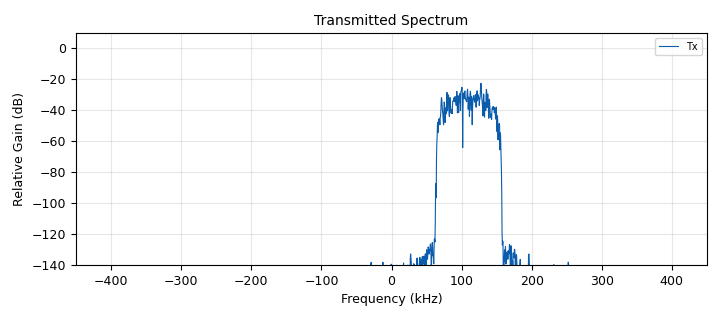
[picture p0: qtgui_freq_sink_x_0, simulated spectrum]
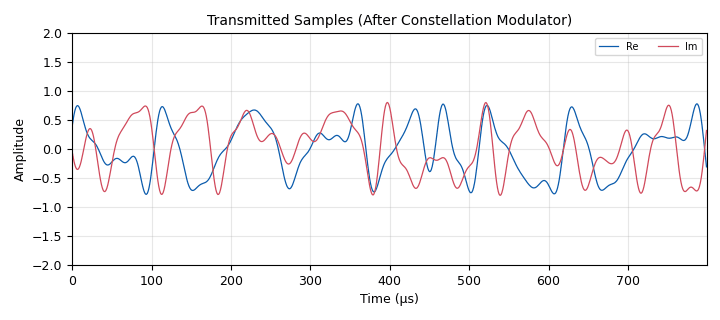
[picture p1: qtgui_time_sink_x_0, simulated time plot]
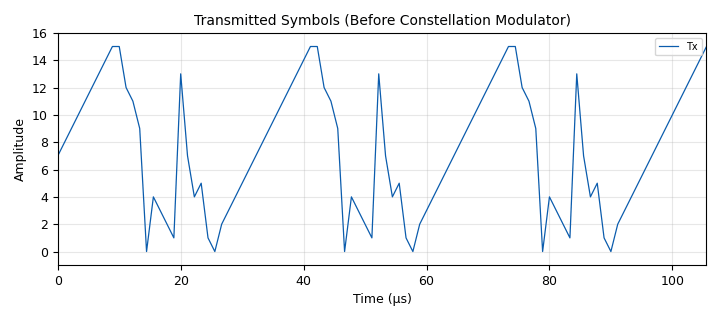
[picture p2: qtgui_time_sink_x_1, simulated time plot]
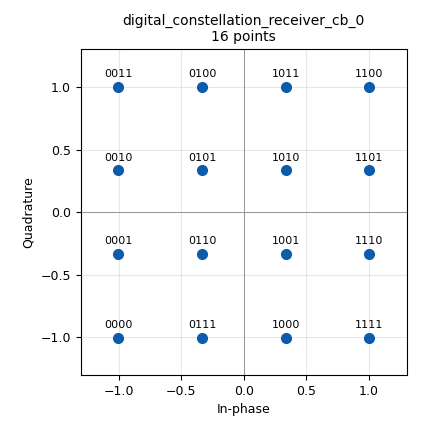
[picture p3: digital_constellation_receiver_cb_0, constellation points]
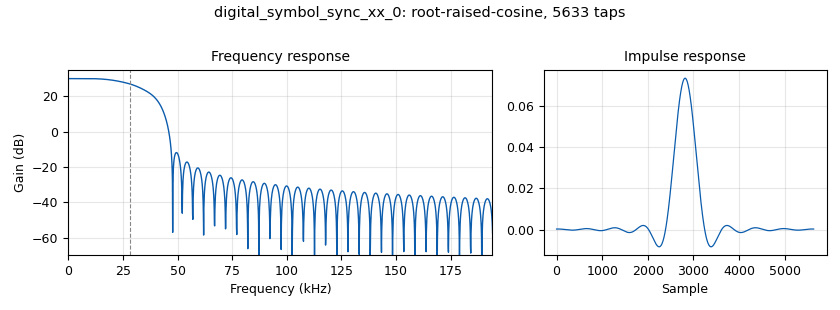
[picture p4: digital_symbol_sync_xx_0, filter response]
options:
  parameters:
    generate_options: qt_gui
    id: qam16_loopback_pluto
    output_language: python
    title: 16qam_loopback_pluto
  states: {}

blocks:
- name: alpha
  id: variable
  parameters:
    value: '0.65'
  states: {}
- name: buff_size
  id: variable
  parameters:
    value: int(32768)
  states: {}
- name: constellation
  id: variable_constellation
  parameters:
    const_points: '[-3-3j, -3-1j, -3+1j, -3+3j, -1+3j, -1+1j, -1-1j, -1-3j, 1-3j, 1-1j, 1+1j, 1+3j, 3+3j, 3+1j, 3-1j, 3-3j]'
    dims: '1'
    normalization: digital.constellation.AMPLITUDE_NORMALIZATION
    precision: '8'
    rot_sym: '4'
    sym_map: '[0, 1, 2, 3, 4, 5, 6, 7, 8, 9, 10, 11, 12, 13, 14, 15]'
    type: calcdist
  states: {}
- name: interval_update
  id: variable
  parameters:
    value: int(0)
  states: {}
- name: lo_freq
  id: variable
  parameters:
    value: '915000000'
  states: {}
- name: nfilts
  id: variable
  parameters:
    value: '32'
  states: {}
- name: offset_rx
  id: variable
  parameters:
    value: '-100000'
  states: {}
- name: offset_tx
  id: variable
  parameters:
    value: '110000'
  states: {}
- name: phase_shift_before_costas_loop
  id: variable_qtgui_range
  parameters:
    gui_hint: (1,1,1,1)
    label: Ph Shift (before CL) [rad]
    start: '0'
    step: math.pi/2
    stop: 2*math.pi
    value: '0'
  states: {}
- name: pluto_ip
  id: variable_config
  parameters:
    config_file: default
    option: key
    section: main
    type: string
    value: ip:192.168.2.1
    writeback: None
  states: {}
- name: rrc_taps
  id: variable_rrc_filter_taps
  parameters:
    alpha: alpha
    gain: nfilts
    ntaps: 11*sps*nfilts
    samp_rate: nfilts*samp_rate
    sym_rate: samp_rate/sps
  states: {}
- name: rx_gain
  id: variable_qtgui_range
  parameters:
    gui_hint: (8,1,1,1)
    label: Rx Gain
    start: '0'
    step: '1'
    stop: '60'
    value: '15'
  states: {}
- name: samp_rate
  id: variable
  parameters:
    value: '900000'
  states: {}
- name: sps
  id: variable
  parameters:
    value: '16'
  states: {}
- name: tx_attenuation
  id: variable_qtgui_range
  parameters:
    gui_hint: (8,0,1,1)
    label: Tx Attenuation
    start: '0'
    step: '1'
    stop: '89'
    value: '15'
  states: {}
- name: analog_agc_xx_0
  id: analog_agc_xx
  parameters:
    gain: '1.0'
    max_gain: '65536'
    rate: '1e-4'
    reference: '1.0'
    type: complex
  states: {}
- name: analog_random_uniform_source_x_0
  id: analog_random_uniform_source_x
  parameters:
    maximum: '4'
    minimum: '0'
    seed: '0'
    type: byte
  states: {state: disabled}
- name: analog_sig_source_x_0_0
  id: analog_sig_source_x
  parameters:
    amp: '1'
    freq: offset_tx
    offset: '0'
    phase: '0'
    samp_rate: samp_rate
    type: complex
    waveform: analog.GR_COS_WAVE
  states: {}
- name: analog_sig_source_x_0_0_0
  id: analog_sig_source_x
  parameters:
    amp: '1'
    freq: offset_rx
    offset: '0'
    phase: '0'
    samp_rate: samp_rate
    type: complex
    waveform: analog.GR_COS_WAVE
  states: {}
- name: blocks_char_to_float_0
  id: blocks_char_to_float
  parameters:
    scale: '1'
  states: {}
- name: blocks_char_to_float_0_0
  id: blocks_char_to_float
  parameters:
    scale: '1'
  states: {}
- name: blocks_char_to_float_0_1
  id: blocks_char_to_float
  parameters:
    scale: '1'
  states: {}
- name: blocks_multiply_const_vxx_0
  id: blocks_multiply_const_vxx
  parameters:
    const: '0.6'
    type: complex
  states: {}
- name: blocks_multiply_xx_0_0
  id: blocks_multiply_xx
  parameters:
    type: complex
  states: {}
- name: blocks_multiply_xx_0_0_0
  id: blocks_multiply_xx
  parameters:
    type: complex
  states: {}
- name: blocks_null_sink_0_0
  id: blocks_null_sink
  parameters:
    type: float
  states: {}
- name: blocks_null_sink_0_0_0
  id: blocks_null_sink
  parameters:
    type: float
  states: {}
- name: blocks_null_sink_0_0_0_0
  id: blocks_null_sink
  parameters:
    type: float
  states: {}
- name: blocks_phase_shift_0
  id: blocks_phase_shift
  parameters:
    is_radians: 'True'
    shift: phase_shift_before_costas_loop
  states: {}
- name: blocks_skiphead_0
  id: blocks_skiphead
  parameters:
    comment: |-
      Skip one second of samples
      to allow AGC and FLL to lock
    num_items: int(samp_rate)
    type: complex
  states: {}
- name: blocks_unpacked_to_packed_xx_0
  id: blocks_unpacked_to_packed_xx
  parameters:
    bits_per_chunk: '4'
    endianness: gr.GR_MSB_FIRST
    type: byte
  states: {}
- name: blocks_vector_source_x_0_0
  id: blocks_vector_source_x
  parameters:
    repeat: 'True'
    type: byte
    vector: (1,0,2,3,4,5,6,7,8,9,10,11,12,13,14,15, 15, 12, 11, 9, 0, 4, 3, 2, 1, 13, 7, 4, 5)
  states: {}
- name: digital_constellation_modulator_0
  id: digital_constellation_modulator
  parameters:
    constellation: constellation
    differential: 'True'
    excess_bw: alpha
    samples_per_symbol: sps
  states: {}
- name: digital_constellation_receiver_cb_0
  id: digital_constellation_receiver_cb
  parameters:
    comment: |-
      Input comes from Symbol Sync
      Includes a Costas Loop to do phase sync
    constellation: constellation
    fmax: math.pi/2
    fmin: '-math.pi/2'
    loop_bw: 2*math.pi*0.01
  states: {}
- name: digital_diff_decoder_bb_0
  id: digital_diff_decoder_bb
  parameters:
    coding: digital.DIFF_DIFFERENTIAL
    modulus: constellation.arity()
  states: {}
- name: digital_fll_band_edge_cc_0
  id: digital_fll_band_edge_cc
  parameters:
    filter_size: sps*2+1
    rolloff: alpha
    samps_per_sym: sps
    type: cc
    w: 2*math.pi/sps/100
  states: {}
- name: digital_meas_evm_cc_0
  id: digital_meas_evm_cc
  parameters:
    cons: constellation
    meas_type: digital.evm_measurement_t.EVM_PERCENT
  states: {}
- name: digital_symbol_sync_xx_0
  id: digital_symbol_sync_xx
  parameters:
    damping: '1.0'
    loop_bw: '0.045'
    max_dev: '1'
    nfilters: nfilts
    osps: '1'
    pfb_mf_taps: rrc_taps
    resamp_type: digital.IR_PFB_MF
    sps: sps
    ted_gain: '1.0'
    ted_type: digital.TED_SIGNAL_TIMES_SLOPE_ML
    type: cc
  states: {}
- name: epy_block_0
  id: epy_block
  parameters:
    _source_code: "\"\"\"\nEmbedded Python Blocks:\n\nEach time this file is saved, GRC will instantiate the first class it finds\nto get ports and parameters of your block. The arguments to __init__  will\nbe the parameters. All of them are required to have default values!\n\"\"\"\n\nimport numpy as np\nfrom gnuradio import gr\nfrom collections import deque\n\nclass blk(gr.sync_block):  # other base classes are basic_block, decim_block, interp_block\n    \"\"\"Embedded Python Block example - a simple multiply const\"\"\"\n\n    def __init__(self, window_size=100):\n        gr.sync_block.__init__(\n            self,\n            name=\"EVM RMS\",\n            in_sig=[np.float32],\n            out_sig=[np.float32]\n        )\n        self.window_size = window_size\n        self.buffer = deque(maxlen=window_size)\n        self.sum_squares = 0.0\n\n    def work(self, input_items, output_items):\n        in0 = input_items[0]\n        out = output_items[0]\n\n        for i, val in enumerate(in0):\n            squared = val ** 2\n            if len(self.buffer) == self.window_size:\n                removed = self.buffer.popleft()\n                self.sum_squares -= removed\n            self.buffer.append(squared)\n            self.sum_squares += squared\n\n            rms = np.sqrt(self.sum_squares / len(self.buffer))\n            out[i] = rms\n\n        return len(out)\n\n"
    window_size: '100'
  states: {}
- name: epy_block_0_0
  id: epy_block
  parameters:
    _source_code: |
      """
      Embedded Python Blocks:

      Each time this file is saved, GRC will instantiate the first class it finds
      to get ports and parameters of your block. The arguments to __init__  will
      be the parameters. All of them are required to have default values!
      """

      import numpy as np
      from gnuradio import gr

      class blk(gr.sync_block):  # other base classes are basic_block, decim_block, interp_block
          """Embedded Python Block example - a simple multiply const"""

          def __init__(self, window_size=100):
              gr.sync_block.__init__(
                  self,
                  name="EVM MAX",
                  in_sig=[np.float32],
                  out_sig=[np.float32]
              )
              self.window_size = window_size
              self.count = 0
              self.max_val = 0

          def work(self, input_items, output_items):
              in0 = input_items[0]
              out = output_items[0]

              
              for i in range(len(in0)):
                  self.max_val = max(self.max_val, in0[i])
                  self.count += 1
                  out[i] = self.max_val
              
              if (self.count >= self.window_size):
                  self.count = 0
                  self.max_val = 0

              return len(output_items[0])
    window_size: '100'
  states: {}
- name: epy_block_0_0_0
  id: epy_block
  parameters:
    _source_code: |-
      """
      Embedded Python Blocks:

      Each time this file is saved, GRC will instantiate the first class it finds
      to get ports and parameters of your block. The arguments to __init__  will
      be the parameters. All of them are required to have default values!
      """

      import numpy as np
      from gnuradio import gr

      class blk(gr.sync_block):  # other base classes are basic_block, decim_block, interp_block
          """Embedded Python Block example - a simple multiply const"""

          def __init__(self, window_size=100):
              gr.sync_block.__init__(
                  self,
                  name="EVM MIN",
                  in_sig=[np.float32],
                  out_sig=[np.float32]
              )
              self.window_size = window_size
              self.min_val = 100
              self.count = 0


          def work(self, input_items, output_items):
              in0 = input_items[0]
              out = output_items[0]

              
              for i in range(len(in0)):
                  self.min_val = min(self.min_val, in0[i])
                  self.count += 1
                  out[i] = self.min_val
              
              if (self.count >= self.window_size):
                  self.count = 0
                  self.min_val = 100

              return len(output_items[0])
    window_size: '100'
  states: {}
- name: iio_pluto_sink_0
  id: iio_pluto_sink
  parameters:
    attenuation1: tx_attenuation
    bandwidth: samp_rate*5
    buffer_size: buff_size
    cyclic: 'False'
    filter_source: '''Auto'''
    frequency: lo_freq
    samplerate: samp_rate
    type: fc32
    uri: pluto_ip
  states: {}
- name: iio_pluto_source_0
  id: iio_pluto_source
  parameters:
    bandwidth: samp_rate*5
    bbdc: 'True'
    buffer_size: buff_size
    filter_source: '''Auto'''
    frequency: lo_freq
    gain1: '''manual'''
    manual_gain1: rx_gain
    quadrature: 'True'
    rfdc: 'True'
    samplerate: samp_rate
    type: fc32
    uri: pluto_ip
  states: {}
- name: import_0
  id: import
  parameters:
    imports: import math
  states: {}
- name: qtgui_const_sink_x_0_0
  id: qtgui_const_sink_x
  parameters:
    grid: 'True'
    gui_hint: (4,0,1,1)
    label1: '''Rx Before \nCostas Loop'''
    label2: '''Rx After \nCostas Loop'''
    name: Received Constellation
    nconnections: '2'
    size: int(1024)
    tr_level: '0.3'
    type: complex
  states: {}
- name: qtgui_eye_sink_x_0_0
  id: qtgui_eye_sink_x
  parameters:
    grid: 'True'
    gui_hint: (4,1,1,1)
    label1: Rx Re (After Costas Loop)
    label2: Rx Im (After Costas Loop)
    samp_per_symbol: '1'
    size: '100'
    srate: samp_rate
    type: complex
    ymax: '2'
    ymin: '-2'
  states: {}
- name: qtgui_freq_sink_x_0
  id: qtgui_freq_sink_x
  parameters:
    bw: samp_rate
    fc: '0'
    fftsize: '2048'
    grid: 'True'
    gui_hint: (3,0,1,1)
    label1: Tx
    name: Transmitted Spectrum
    tr_level: '-60'
    tr_mode: qtgui.TRIG_MODE_NORM
    type: complex
    update_time: '1'
  states: {}
- name: qtgui_freq_sink_x_0_0_0
  id: qtgui_freq_sink_x
  parameters:
    bw: samp_rate
    fc: '0'
    fftsize: '2048'
    grid: 'True'
    gui_hint: (3,1,1,1)
    label1: Rx
    label2: '''Rx \n+ \nFreq Offset'''
    label3: '''Rx \n+ \nFreq \nOffset \n+ \nFLL'''
    name: '"Received spectrum"'
    nconnections: '3'
    tr_level: '-60'
    tr_mode: qtgui.TRIG_MODE_NORM
    type: complex
    width3: '3'
  states: {}
- name: qtgui_number_sink_0
  id: qtgui_number_sink
  parameters:
    autoscale: 'True'
    avg: '1'
    graph_type: qtgui.NUM_GRAPH_HORIZ
    name: '"EVM average (%)"'
    type: float
  states: {}
- name: qtgui_time_sink_x_0
  id: qtgui_time_sink_x
  parameters:
    grid: 'True'
    gui_hint: (2,0,1,1)
    label1: Re
    label2: Im
    name: Transmitted Samples (After Constellation Modulator)
    size: 45*16
    srate: samp_rate
    tr_level: '0.5'
    tr_mode: qtgui.TRIG_MODE_NORM
    type: complex
    ymax: '2'
    ymin: '-2'
  states: {}
- name: qtgui_time_sink_x_1
  id: qtgui_time_sink_x
  parameters:
    grid: 'True'
    gui_hint: (0,0,1,1)
    label1: Tx
    name: Transmitted Symbols (Before Constellation Modulator)
    size: '96'
    srate: samp_rate
    type: float
    ymax: '16'
  states: {}
- name: qtgui_time_sink_x_1_0
  id: qtgui_time_sink_x
  parameters:
    autoscale: 'True'
    grid: 'True'
    gui_hint: (2,1,1,1)
    label1: Re
    label2: Im
    name: '"Received Samples (After Costas Loop)"'
    size: '45'
    srate: samp_rate
    tr_level: '0.1'
    type: complex
    ymax: '16'
    ymin: '-4'
  states: {}
- name: qtgui_time_sink_x_1_1
  id: qtgui_time_sink_x
  parameters:
    autoscale: 'True'
    grid: 'True'
    label1: Tx
    name: EVM measurement (%)
    size: '96'
    srate: samp_rate
    type: float
    ymax: '16'
  states: {}
- name: qtgui_time_sink_x_1_1_0
  id: qtgui_time_sink_x
  parameters:
    autoscale: 'True'
    grid: 'True'
    label1: Tx
    name: EVM max (%)
    size: '96'
    srate: samp_rate
    type: float
    ymax: '100'
  states: {}
- name: qtgui_time_sink_x_1_1_0_0
  id: qtgui_time_sink_x
  parameters:
    autoscale: 'True'
    grid: 'True'
    label1: Tx
    name: EVM RMS (%)
    size: '96'
    srate: samp_rate
    type: float
    ymax: '16'
  states: {}
- name: qtgui_time_sink_x_1_1_0_0_0
  id: qtgui_time_sink_x
  parameters:
    grid: 'True'
    label1: Tx
    name: EVM min (%)
    size: '96'
    srate: samp_rate
    type: float
    ymax: '16'
  states: {}
- name: qtgui_time_sink_x_3
  id: qtgui_time_sink_x
  parameters:
    grid: 'True'
    gui_hint: (0,1,1,1)
    label1: '''Before \nDiff. \nDecoding'''
    label2: '''After \nDiff. \nDecoding'''
    name: Received Demodulated Symbols
    nconnections: '2'
    size: '96'
    srate: samp_rate
    tr_level: '2.5'
    tr_mode: qtgui.TRIG_MODE_NORM
    type: float
    width2: '3'
    ymax: '16'
  states: {}

connections:
- [analog_agc_xx_0, '0', digital_fll_band_edge_cc_0, '0']
- [analog_agc_xx_0, '0', qtgui_freq_sink_x_0_0_0, '1']
- [analog_random_uniform_source_x_0, '0', blocks_unpacked_to_packed_xx_0, '0']
- [analog_sig_source_x_0_0, '0', blocks_multiply_xx_0_0, '1']
- [analog_sig_source_x_0_0_0, '0', blocks_multiply_xx_0_0_0, '1']
- [blocks_char_to_float_0, '0', qtgui_time_sink_x_3, '1']
- [blocks_char_to_float_0_0, '0', qtgui_time_sink_x_3, '0']
- [blocks_char_to_float_0_1, '0', qtgui_time_sink_x_1, '0']
- [blocks_multiply_const_vxx_0, '0', blocks_multiply_xx_0_0, '0']
- [blocks_multiply_const_vxx_0, '0', qtgui_time_sink_x_0, '0']
- [blocks_multiply_xx_0_0, '0', iio_pluto_sink_0, '0']
- [blocks_multiply_xx_0_0, '0', qtgui_freq_sink_x_0, '0']
- [blocks_multiply_xx_0_0_0, '0', analog_agc_xx_0, '0']
- [blocks_phase_shift_0, '0', digital_constellation_receiver_cb_0, '0']
- [blocks_skiphead_0, '0', digital_symbol_sync_xx_0, '0']
- [blocks_unpacked_to_packed_xx_0, '0', digital_constellation_modulator_0, '0']
- [blocks_vector_source_x_0_0, '0', blocks_char_to_float_0_1, '0']
- [blocks_vector_source_x_0_0, '0', blocks_unpacked_to_packed_xx_0, '0']
- [digital_constellation_modulator_0, '0', blocks_multiply_const_vxx_0, '0']
- [digital_constellation_receiver_cb_0, '0', blocks_char_to_float_0_0, '0']
- [digital_constellation_receiver_cb_0, '0', digital_diff_decoder_bb_0, '0']
- [digital_constellation_receiver_cb_0, '1', blocks_null_sink_0_0, '0']
- [digital_constellation_receiver_cb_0, '2', blocks_null_sink_0_0_0, '0']
- [digital_constellation_receiver_cb_0, '3', blocks_null_sink_0_0_0_0, '0']
- [digital_constellation_receiver_cb_0, '4', digital_meas_evm_cc_0, '0']
- [digital_constellation_receiver_cb_0, '4', qtgui_const_sink_x_0_0, '1']
- [digital_constellation_receiver_cb_0, '4', qtgui_eye_sink_x_0_0, '0']
- [digital_constellation_receiver_cb_0, '4', qtgui_time_sink_x_1_0, '0']
- [digital_diff_decoder_bb_0, '0', blocks_char_to_float_0, '0']
- [digital_fll_band_edge_cc_0, '0', blocks_skiphead_0, '0']
- [digital_fll_band_edge_cc_0, '0', qtgui_freq_sink_x_0_0_0, '2']
- [digital_meas_evm_cc_0, '0', epy_block_0, '0']
- [digital_meas_evm_cc_0, '0', epy_block_0_0, '0']
- [digital_meas_evm_cc_0, '0', epy_block_0_0_0, '0']
- [digital_meas_evm_cc_0, '0', qtgui_number_sink_0, '0']
- [digital_meas_evm_cc_0, '0', qtgui_time_sink_x_1_1, '0']
- [digital_symbol_sync_xx_0, '0', blocks_phase_shift_0, '0']
- [digital_symbol_sync_xx_0, '0', qtgui_const_sink_x_0_0, '0']
- [epy_block_0, '0', qtgui_time_sink_x_1_1_0_0, '0']
- [epy_block_0_0, '0', qtgui_time_sink_x_1_1_0, '0']
- [epy_block_0_0_0, '0', qtgui_time_sink_x_1_1_0_0_0, '0']
- [iio_pluto_source_0, '0', blocks_multiply_xx_0_0_0, '0']
- [iio_pluto_source_0, '0', qtgui_freq_sink_x_0_0_0, '0']

metadata:
  file_format: 1
  grc_version: 3.10.11.0
